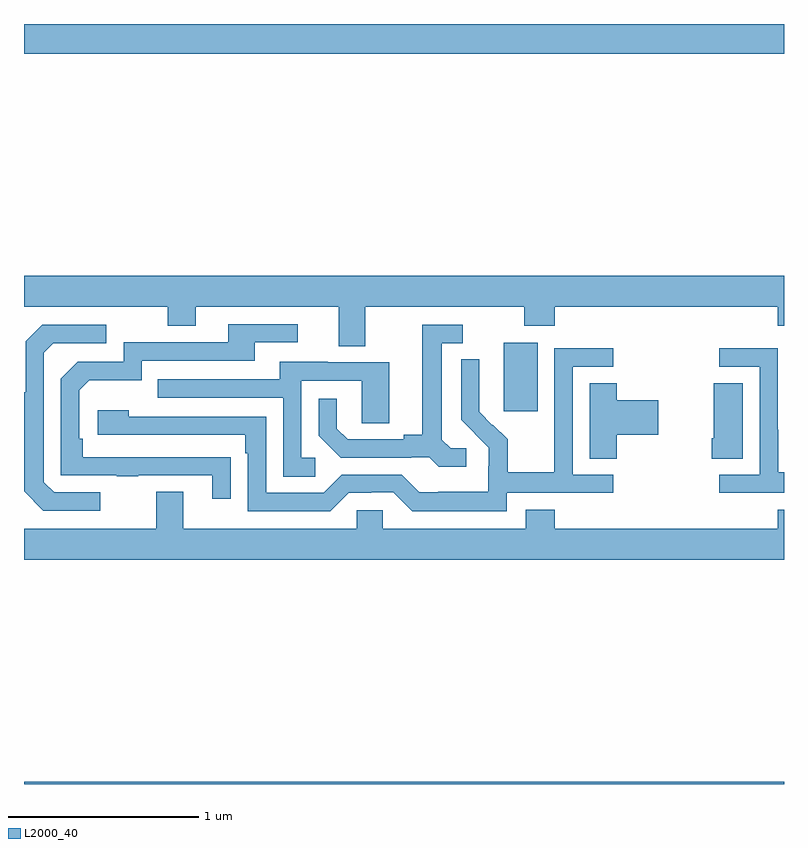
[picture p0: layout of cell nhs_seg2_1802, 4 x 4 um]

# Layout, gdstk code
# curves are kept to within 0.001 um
import gdstk
lib = gdstk.Library(unit=1e-6, precision=1e-09)
def R(c, l, rs):  # rectangles x0, y0, x1, y1
    for r in rs: c.add(gdstk.rectangle(r[:2], r[2:], *l))
def P(c, l, *ps):  # polygons
    for p in ps: c.add(gdstk.Polygon(p, *l))
L2000_40 = (2000, 40)

nhs_seg2_1802 = lib.new_cell('nhs_seg2_1802')
R(nhs_seg2_1802, L2000_40, [(205,635.8,209,635.812), (207.524,637.761,207.703,638.122), (205,639.644,209,639.8)])
P(nhs_seg2_1802, L2000_40, [(206.797,638.312),(207.634,638.312),(207.634,638.213),(207.794,638.213),(207.794,638.312),(208.967,638.312),(208.967,638.213),(209,638.213),(209,638.476),(205,638.476),(205,638.312),(205.756,638.312),(205.756,638.213),(205.903,638.213),(205.903,638.312),(206.657,638.312),(206.657,638.104),(206.797,638.104)],
  [(206.087,637.52),(205.31,637.521),(205.31,637.618),(205.29,637.618),(205.29,637.872),(205.343,637.925),(205.62,637.925),(205.62,638.028),(206.215,638.028),(206.215,638.124),(206.44,638.124),(206.44,638.22),(206.075,638.22),(206.075,638.124),(205.524,638.124),(205.524,638.022),(205.284,638.022),(205.194,637.932),(205.194,637.425),(205.489,637.425),(205.489,637.42),(205.601,637.42),(205.601,637.425),(205.991,637.425),(205.991,637.302),(206.087,637.302)],
  [(207.328,637.566),(207.246,637.566),(207.199,637.613),(207.199,638.121),(207.31,638.121),(207.31,638.217),(207.095,638.217),(207.095,637.637),(206.999,637.637),(206.999,637.614),(206.704,637.614),(206.647,637.671),(206.647,637.828),(206.55,637.828),(206.55,637.634),(206.666,637.518),(207.038,637.518),(207.038,637.521),(207.132,637.521),(207.184,637.469),(207.328,637.469)],
  [(205.402,637.335),(205.158,637.335),(205.104,637.389),(205.104,638.07),(205.155,638.121),(205.432,638.121),(205.432,638.217),(205.095,638.217),(205.008,638.13),(205.008,637.861),(205,637.861),(205,637.341),(205.101,637.239),(205.402,637.239)],
  [(207.54,637.332),(208.102,637.332),(208.102,637.428),(207.888,637.428),(207.888,637.995),(208.102,637.995),(208.102,638.094),(207.792,638.094),(207.792,637.664),(207.79,637.664),(207.79,637.441),(207.545,637.441),(207.545,637.615),(207.468,637.692),(207.465,637.689),(207.395,637.76),(207.396,638.036),(207.3,638.036),(207.3,637.718),(207.446,637.57),(207.446,637.473),(207.444,637.473),(207.444,637.339),(207.181,637.339),(207.181,637.335),(207.081,637.335),(206.988,637.428),(206.673,637.428),(206.577,637.332),(206.274,637.332),(206.274,637.734),(205.55,637.734),(205.55,637.768),(205.389,637.768),(205.389,637.638),(206.165,637.638),(206.165,637.541),(206.178,637.541),(206.178,637.236),(206.613,637.236),(206.709,637.332),(206.828,637.332),(206.828,637.335),(206.943,637.335),(207.043,637.235),(207.54,637.235)],
  [(209,637.441),(208.971,637.441),(208.971,637.664),(208.968,637.664),(208.968,638.094),(208.659,638.094),(208.659,637.995),(208.872,637.995),(208.872,637.428),(208.659,637.428),(208.659,637.332),(209,637.332)],
  [(206.533,637.518),(206.46,637.518),(206.46,637.923),(206.778,637.923),(206.778,637.699),(206.923,637.699),(206.923,638.019),(206.599,638.019),(206.599,638.023),(206.345,638.023),(206.345,637.929),(205.705,637.929),(205.705,637.833),(206.364,637.833),(206.364,637.417),(206.533,637.417)],
  [(208.783,637.91),(208.631,637.91),(208.631,637.621),(208.619,637.621),(208.619,637.513),(208.783,637.513)],
  [(208.121,637.637),(208.339,637.637),(208.339,637.82),(208.121,637.82),(208.121,637.91),(207.977,637.91),(207.977,637.513),(208.121,637.513)],
  [(209,637.243),(208.967,637.243),(208.967,637.144),(207.794,637.144),(207.794,637.243),(207.641,637.243),(207.641,637.144),(206.889,637.144),(206.889,637.242),(206.751,637.242),(206.751,637.144),(205.837,637.144),(205.837,637.339),(205.697,637.339),(205.697,637.144),(205,637.144),(205,636.98),(209,636.98)])

lib.write_gds('nhs_seg2_1802.gds')
